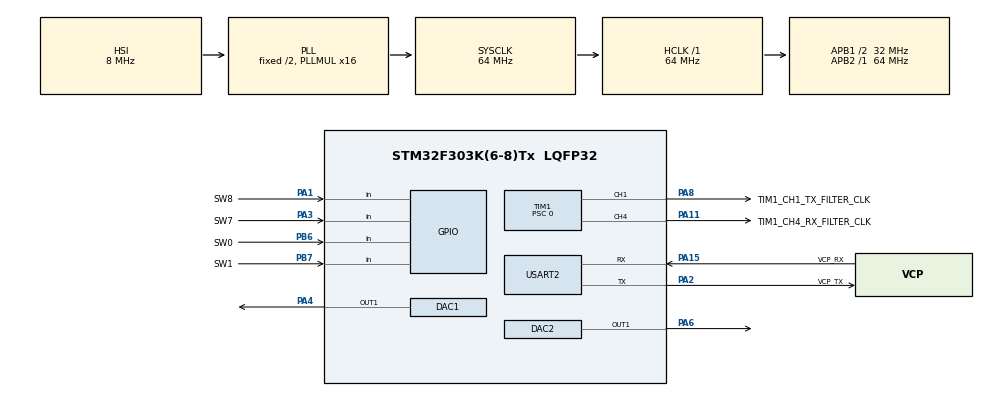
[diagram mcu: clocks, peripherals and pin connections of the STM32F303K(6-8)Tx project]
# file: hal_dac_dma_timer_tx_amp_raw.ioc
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DAC1.DAC_OutputBuffer=DAC_OUTPUTBUFFER_ENABLE
DAC1.DAC_Trigger=DAC_TRIGGER_T6_TRGO
DAC2.DAC_Trigger=DAC_TRIGGER_T7_TRGO
Dma.DAC1_CH1.0.Direction=DMA_MEMORY_TO_PERIPH
Dma.DAC1_CH1.0.Instance=DMA1_Channel3
Dma.DAC1_CH1.0.MemDataAlignment=DMA_MDATAALIGN_HALFWORD
Dma.DAC1_CH1.0.MemInc=DMA_MINC_ENABLE
Dma.DAC1_CH1.0.Mode=DMA_CIRCULAR
Dma.DAC1_CH1.0.PeriphDataAlignment=DMA_PDATAALIGN_HALFWORD
Dma.DAC1_CH1.0.PeriphInc=DMA_PINC_DISABLE
Dma.DAC1_CH1.0.Priority=DMA_PRIORITY_HIGH
Dma.DAC2_CH1.1.Direction=DMA_MEMORY_TO_PERIPH
Dma.DAC2_CH1.1.Instance=DMA1_Channel5
Dma.DAC2_CH1.1.MemDataAlignment=DMA_MDATAALIGN_HALFWORD
Dma.DAC2_CH1.1.MemInc=DMA_MINC_ENABLE
Dma.DAC2_CH1.1.Mode=DMA_CIRCULAR
Dma.DAC2_CH1.1.PeriphDataAlignment=DMA_PDATAALIGN_HALFWORD
Dma.DAC2_CH1.1.PeriphInc=DMA_PINC_DISABLE
Dma.DAC2_CH1.1.Priority=DMA_PRIORITY_HIGH
Dma.Request0=DAC1_CH1
Dma.Request1=DAC2_CH1
Mcu.Family=STM32F3
Mcu.Name=STM32F303K(6-8)Tx
Mcu.Package=LQFP32
NVIC.DMA1_Channel3_IRQn=true\:0\:0\:false\:false\:true\:false\:true\:true
NVIC.DMA1_Channel5_IRQn=true\:0\:0\:false\:false\:true\:false\:true\:true
NVIC.PriorityGroup=NVIC_PRIORITYGROUP_4
PA1.GPIO_Label=SW8
PA1.Signal=GPIO_Input
PA11.GPIO_Label=TIM1_CH4_RX_FILTER_CLK
PA11.GPIO_Speed=GPIO_SPEED_FREQ_MEDIUM
PA11.Signal=S_TIM1_CH4
PA13.GPIO_Label=SWDIO
PA13.Mode=Serial_Wire
PA13.Signal=SYS_JTMS-SWDIO
PA14.GPIO_Label=SWCLK
PA14.Mode=Serial_Wire
PA14.Signal=SYS_JTCK-SWCLK
PA15.GPIO_Label=VCP_RX
PA15.Mode=Asynchronous
PA15.Signal=USART2_RX
PA2.GPIO_Label=VCP_TX
PA2.Mode=Asynchronous
PA2.Signal=USART2_TX
PA3.GPIO_Label=SW7
PA3.Signal=GPIO_Input
PA4.Signal=COMP_DAC11_group
PA6.Signal=COMP_DAC21_group
PA8.GPIO_Label=TIM1_CH1_TX_FILTER_CLK
PA8.GPIO_Speed=GPIO_SPEED_FREQ_MEDIUM
PA8.Signal=S_TIM1_CH1
PB6.GPIO_Label=SW0
PB6.Signal=GPIO_Input
PB7.GPIO_Label=SW1
PB7.Signal=GPIO_Input
PF0\ /\ OSC_IN.GPIO_Label=MCO
PF0\ /\ OSC_IN.Mode=HSE-External-Clock-Source
PF0\ /\ OSC_IN.Signal=RCC_OSC_IN
ProjectManager.HeapSize=0x200
ProjectManager.StackSize=0x400
ProjectManager.TargetToolchain=STM32CubeIDE
RCC.AHBFreq_Value=64000000
RCC.APB1CLKDivider=RCC_HCLK_DIV2
RCC.APB1Freq_Value=32000000
RCC.APB1TimFreq_Value=64000000
RCC.APB2Freq_Value=64000000
RCC.APB2TimFreq_Value=64000000
RCC.CortexFreq_Value=64000000
RCC.HCLKFreq_Value=64000000
RCC.HSE_VALUE=8000000
RCC.HSI_VALUE=8000000
RCC.PLLMUL=RCC_PLL_MUL16
RCC.SYSCLKFreq_VALUE=64000000
RCC.SYSCLKSourceVirtual=RCC_SYSCLKSOURCE_PLLCLK
SH.COMP_DAC11_group.0=DAC1_OUT1,DAC_OUT1
SH.COMP_DAC21_group.0=DAC2_OUT1,Switch_Enable_OUT1
SH.S_TIM1_CH1.0=TIM1_CH1,Output Compare1 CH1
SH.S_TIM1_CH4.0=TIM1_CH4,Output Compare4 CH4
TIM1.Channel-Output\ Compare1\ CH1=TIM_CHANNEL_1
TIM1.Channel-Output\ Compare4\ CH4=TIM_CHANNEL_4
TIM1.OCMode_1=TIM_OCMODE_TOGGLE
TIM1.OCMode_4=TIM_OCMODE_TOGGLE
TIM1.Period=16
TIM1.Prescaler=0
TIM6.Period=10
TIM6.Prescaler=4
TIM6.TIM_MasterOutputTrigger=TIM_TRGO_UPDATE
TIM7.Period=6400
TIM7.TIM_MasterOutputTrigger=TIM_TRGO_UPDATE
USART2.VirtualMode-Asynchronous=VM_ASYNC
VP_TIM1_VS_ClockSourceINT.Mode=Internal
VP_TIM6_VS_ClockSourceINT.Mode=Enable_Timer
VP_TIM7_VS_ClockSourceINT.Mode=Enable_Timer
board=NUCLEO-F303K8

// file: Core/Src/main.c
/* USER CODE BEGIN Header */
/**
  ******************************************************************************
  * @file           : main.c
  * @brief          : Main program body
  ******************************************************************************
  * @attention
  *
  * Copyright (c) 2024 STMicroelectronics.
  * All rights reserved.
  *
  * This software is licensed under terms that can be found in the LICENSE file
  * in the root directory of this software component.
  * If no LICENSE file comes with this software, it is provided AS-IS.
  *
  ******************************************************************************
  */

//DAC2_OUT1 / pin 12 / PA6 (A5): unbuffered => AUDIO, timer 7 triggering
//note: the timer is considered an external trigger, so I think I need to use HAL_DAC_Start_DMA
//DMA config: DAC2_CH1, DMA1 channel 5, memory to peripheral, high priority
//"DMA request mapped on this DMA channel only if the corresponding remapping bit is set in the SYSCFG_CFGR1 or SYSCFGR3 register" (ref manual page 273), I think this is done already with the "__HAL_DMA_REMAP_CHANNEL_ENABLE" command

//DAC1_OUT1 / pin 10 / PA4 (A3): buffered => TX_AMP_RAW, timer 6 triggering

/* USER CODE END Header */
#include "main.h"

DAC_HandleTypeDef hdac1;
DAC_HandleTypeDef hdac2;
DMA_HandleTypeDef hdma_dac1_ch1;
DMA_HandleTypeDef hdma_dac2_ch1;

TIM_HandleTypeDef htim1;
TIM_HandleTypeDef htim6;
TIM_HandleTypeDef htim7;

UART_HandleTypeDef huart2;

void SystemClock_Config(void);
static void MX_GPIO_Init(void);
static void MX_DMA_Init(void);
static void MX_USART2_UART_Init(void);
static void MX_TIM7_Init(void);
static void MX_DAC1_Init(void);
static void MX_TIM6_Init(void);
static void MX_TIM1_Init(void);
static void MX_DAC2_Init(void);

/* USER CODE BEGIN 0 */

#define WAVE_BUFFER_CAPACITY 512

uint16_t waveAmplitude;//DAC counts ranging from [0,4095]
uint16_t waveFrequency;//[Hz]
uint32_t waveSize;//[points]
uint16_t waveBuffer[WAVE_BUFFER_CAPACITY];

const uint32_t dacOutputSampleRate = 64000000/4/10;

/**
 * sampleRate [samples/second]
 * frequency [Hz]
 * amplitude [12-bit DAC counts]
 * center [12-bit DAC counts]
 */
void GenerateWaveToTransmit(double sampleRate, double frequency, double amplitude, double center)
{
    double sampleTime = 1.0 / sampleRate;//[sec/sample]
    uint32_t samplesPerCycle = (uint32_t)round(sampleRate / frequency);

    if (samplesPerCycle >= WAVE_BUFFER_CAPACITY) return;

    for (uint32_t i = 0; i < samplesPerCycle; i++)
    {
        double timeS = (i) * sampleTime;
        double waveValue = amplitude * sin(2 * M_PI * frequency * timeS) + center;
        if (waveValue < 0) waveValue = 0;//TODO: test and see if I can remove this
        if (waveValue > 4095) waveValue = 4095;
        uint16_t waveValueInt = (uint16_t)round(waveValue);
        waveBuffer[i] = waveValueInt;
    }

    waveAmplitude = (uint16_t) amplitude;
    waveFrequency = (uint16_t) frequency;
    waveSize = samplesPerCycle;

}

/* USER CODE END 0 */

int main(void)
{

  /* MCU Configuration--------------------------------------------------------*/

  /* Reset of all peripherals, Initializes the Flash interface and the Systick. */
  HAL_Init();

  /* Configure the system clock */
  SystemClock_Config();

  /* Initialize all configured peripherals */
  MX_GPIO_Init();
  MX_DMA_Init();
  MX_USART2_UART_Init();
  MX_TIM7_Init();
  MX_DAC1_Init();
  MX_TIM6_Init();
  MX_TIM1_Init();
  MX_DAC2_Init();
  /* USER CODE BEGIN 2 */

  //HAL_DMA_Start_IT(&hdma_dac2_ch1, )
  //Enable the DAC channel using HAL_DAC_Start() or HAL_DAC_Start_DMA() functions
  //dac output voltage equation: DAC_OUTx = VREF+ * DOR / 4095

  __HAL_TIM_SET_COMPARE(&htim1, TIM_CHANNEL_1, 1);//same as htim1.Instance->CCR1 = 16;
  __HAL_TIM_SET_COMPARE(&htim1, TIM_CHANNEL_4, 1);//same as htim1.Instance->CCR4 = 16;

  HAL_TIM_OC_Start(&htim1, TIM_CHANNEL_1);
  HAL_TIM_OC_Start(&htim1, TIM_CHANNEL_4);

  	GenerateWaveToTransmit(
  			dacOutputSampleRate, //sample rate
			16000, //frequency
			200, //amplitude
			2048 //center
			);

	HAL_DAC_Stop_DMA(&hdac2, DAC_CHANNEL_1);
	HAL_DAC_Stop_DMA(&hdac1, DAC_CHANNEL_1);
	//memcpy(waveBuffer, tempBuffer, sizeof(uint16_t) * tempSize);
	//HAL_DAC_Start_DMA(&hdac2, DAC_CHANNEL_1, (uint32_t *)waveBuffer, waveSize, DAC_ALIGN_12B_R);
	HAL_DAC_Start_DMA(&hdac1, DAC_CHANNEL_1, (uint32_t *)waveBuffer, waveSize, DAC_ALIGN_12B_R);

	//timer output rate = 8 MHz / prescaler / timerperiod
	//__HAL_RCC_TIM7_CLK_ENABLE();
	//HAL_TIM_Base_Start(&htim7);   //HAL_TIM_Base_Start_DMA();  ???

	__HAL_RCC_TIM6_CLK_ENABLE();
	HAL_TIM_Base_Start(&htim6);   //HAL_TIM_Base_Start_DMA();  ???

  /* USER CODE END 2 */

  /* Infinite loop */
  /* USER CODE BEGIN WHILE */
  while (1)
  {
	  /*GPIO_PinState pinState0 = HAL_GPIO_ReadPin(SW0_GPIO_Port, SW0_Pin);
	  GPIO_PinState pinState1 = HAL_GPIO_ReadPin(SW1_GPIO_Port, SW1_Pin);
	  GPIO_PinState pinState8 = HAL_GPIO_ReadPin(SW8_GPIO_Port, SW8_Pin);
	  GPIO_PinState pinState7 = HAL_GPIO_ReadPin(SW7_GPIO_Port, SW7_Pin);

	  if (pinState0 == GPIO_PIN_RESET)
	  {
		  uint16_t newAmp = waveAmplitude + 50;
		  if (newAmp > 3000) newAmp = 3000;
		  GenerateWaveToTransmitInTempBuffer(waveFrequency, newAmp, 4096/2);
		  UpdateDACWaveAfterChange();

		  HAL_Delay(200);
	  }
	  if (pinState1 == GPIO_PIN_RESET)
	  {
		  int16_t newAmp = ((int16_t)waveAmplitude) - 50;
		  if (newAmp < 0) newAmp = 0;
		  GenerateWaveToTransmitInTempBuffer(waveFrequency, (uint16_t)newAmp, 4096/2);
		  UpdateDACWaveAfterChange();

		  HAL_Delay(200);
	  }
	  if (pinState8 == GPIO_PIN_RESET)
	  {
		  uint16_t newFreq = waveFrequency + 20;
		  if (newFreq > 3000) newFreq = 3000;
		  GenerateWaveToTransmitInTempBuffer(newFreq, waveAmplitude, 4096/2);
		  UpdateDACWaveAfterChange();

		  HAL_Delay(200);
	  }
	  if (pinState7 == GPIO_PIN_RESET)
	  {
		  int16_t newFreq = ((int16_t)waveFrequency) - 20;
		  if (newFreq < 20) newFreq = 20;
		  GenerateWaveToTransmitInTempBuffer((uint16_t)newFreq, waveAmplitude, 4096/2);
		  UpdateDACWaveAfterChange();

		  HAL_Delay(200);
	  }*/

    /* USER CODE END WHILE */

  }
}

void SystemClock_Config(void)
{
  RCC_OscInitTypeDef RCC_OscInitStruct = {0};
  RCC_ClkInitTypeDef RCC_ClkInitStruct = {0};
  RCC_PeriphCLKInitTypeDef PeriphClkInit = {0};

  /** Initializes the RCC Oscillators according to the specified parameters
  * in the RCC_OscInitTypeDef structure.
  */
  RCC_OscInitStruct.OscillatorType = RCC_OSCILLATORTYPE_HSI;
  RCC_OscInitStruct.HSIState = RCC_HSI_ON;
  RCC_OscInitStruct.HSICalibrationValue = RCC_HSICALIBRATION_DEFAULT;
  RCC_OscInitStruct.PLL.PLLState = RCC_PLL_ON;
  RCC_OscInitStruct.PLL.PLLSource = RCC_PLLSOURCE_HSI;
  RCC_OscInitStruct.PLL.PLLMUL = RCC_PLL_MUL16;
  if (HAL_RCC_OscConfig(&RCC_OscInitStruct) != HAL_OK)
  {
    Error_Handler();
  }

  /** Initializes the CPU, AHB and APB buses clocks
  */
  RCC_ClkInitStruct.ClockType = RCC_CLOCKTYPE_HCLK|RCC_CLOCKTYPE_SYSCLK
                              |RCC_CLOCKTYPE_PCLK1|RCC_CLOCKTYPE_PCLK2;
  RCC_ClkInitStruct.SYSCLKSource = RCC_SYSCLKSOURCE_PLLCLK;
  RCC_ClkInitStruct.AHBCLKDivider = RCC_SYSCLK_DIV1;
  RCC_ClkInitStruct.APB1CLKDivider = RCC_HCLK_DIV2;
  RCC_ClkInitStruct.APB2CLKDivider = RCC_HCLK_DIV1;

  if (HAL_RCC_ClockConfig(&RCC_ClkInitStruct, FLASH_LATENCY_2) != HAL_OK)
  {
    Error_Handler();
  }
  PeriphClkInit.PeriphClockSelection = RCC_PERIPHCLK_TIM1;
  PeriphClkInit.Tim1ClockSelection = RCC_TIM1CLK_HCLK;
  if (HAL_RCCEx_PeriphCLKConfig(&PeriphClkInit) != HAL_OK)
  {
    Error_Handler();
  }
}

static void MX_DAC1_Init(void)
{

  DAC_ChannelConfTypeDef sConfig = {0};

  /** DAC Initialization
  */
  hdac1.Instance = DAC1;
  if (HAL_DAC_Init(&hdac1) != HAL_OK)
  {
    Error_Handler();
  }

  /** DAC channel OUT1 config
  */
  sConfig.DAC_Trigger = DAC_TRIGGER_T6_TRGO;
  sConfig.DAC_OutputBuffer = DAC_OUTPUTBUFFER_ENABLE;
  if (HAL_DAC_ConfigChannel(&hdac1, &sConfig, DAC_CHANNEL_1) != HAL_OK)
  {
    Error_Handler();
  }

}

static void MX_DAC2_Init(void)
{

  DAC_ChannelConfTypeDef sConfig = {0};

  /** DAC Initialization
  */
  hdac2.Instance = DAC2;
  if (HAL_DAC_Init(&hdac2) != HAL_OK)
  {
    Error_Handler();
  }

  /** DAC channel OUT1 config
  */
  sConfig.DAC_Trigger = DAC_TRIGGER_T7_TRGO;
  sConfig.DAC_OutputSwitch = DAC_OUTPUTSWITCH_ENABLE;
  if (HAL_DAC_ConfigChannel(&hdac2, &sConfig, DAC_CHANNEL_1) != HAL_OK)
  {
    Error_Handler();
  }

}

static void MX_TIM1_Init(void)
{

  TIM_ClockConfigTypeDef sClockSourceConfig = {0};
  TIM_MasterConfigTypeDef sMasterConfig = {0};
  TIM_OC_InitTypeDef sConfigOC = {0};
  TIM_BreakDeadTimeConfigTypeDef sBreakDeadTimeConfig = {0};

  htim1.Instance = TIM1;
  htim1.Init.Prescaler = 0;
  htim1.Init.CounterMode = TIM_COUNTERMODE_UP;
  htim1.Init.Period = 16;
  htim1.Init.ClockDivision = TIM_CLOCKDIVISION_DIV1;
  htim1.Init.RepetitionCounter = 0;
  htim1.Init.AutoReloadPreload = TIM_AUTORELOAD_PRELOAD_DISABLE;
  if (HAL_TIM_Base_Init(&htim1) != HAL_OK)
  {
    Error_Handler();
  }
  sClockSourceConfig.ClockSource = TIM_CLOCKSOURCE_INTERNAL;
  if (HAL_TIM_ConfigClockSource(&htim1, &sClockSourceConfig) != HAL_OK)
  {
    Error_Handler();
  }
  if (HAL_TIM_OC_Init(&htim1) != HAL_OK)
  {
    Error_Handler();
  }
  sMasterConfig.MasterOutputTrigger = TIM_TRGO_RESET;
  sMasterConfig.MasterOutputTrigger2 = TIM_TRGO2_RESET;
  sMasterConfig.MasterSlaveMode = TIM_MASTERSLAVEMODE_DISABLE;
  if (HAL_TIMEx_MasterConfigSynchronization(&htim1, &sMasterConfig) != HAL_OK)
  {
    Error_Handler();
  }
  sConfigOC.OCMode = TIM_OCMODE_TOGGLE;
  sConfigOC.Pulse = 0;
  sConfigOC.OCPolarity = TIM_OCPOLARITY_HIGH;
  sConfigOC.OCNPolarity = TIM_OCNPOLARITY_HIGH;
  sConfigOC.OCFastMode = TIM_OCFAST_DISABLE;
  sConfigOC.OCIdleState = TIM_OCIDLESTATE_RESET;
  sConfigOC.OCNIdleState = TIM_OCNIDLESTATE_RESET;
  if (HAL_TIM_OC_ConfigChannel(&htim1, &sConfigOC, TIM_CHANNEL_1) != HAL_OK)
  {
    Error_Handler();
  }
  if (HAL_TIM_OC_ConfigChannel(&htim1, &sConfigOC, TIM_CHANNEL_4) != HAL_OK)
  {
    Error_Handler();
  }
  sBreakDeadTimeConfig.OffStateRunMode = TIM_OSSR_DISABLE;
  sBreakDeadTimeConfig.OffStateIDLEMode = TIM_OSSI_DISABLE;
  sBreakDeadTimeConfig.LockLevel = TIM_LOCKLEVEL_OFF;
  sBreakDeadTimeConfig.DeadTime = 0;
  sBreakDeadTimeConfig.BreakState = TIM_BREAK_DISABLE;
  sBreakDeadTimeConfig.BreakPolarity = TIM_BREAKPOLARITY_HIGH;
  sBreakDeadTimeConfig.BreakFilter = 0;
  sBreakDeadTimeConfig.Break2State = TIM_BREAK2_DISABLE;
  sBreakDeadTimeConfig.Break2Polarity = TIM_BREAK2POLARITY_HIGH;
  sBreakDeadTimeConfig.Break2Filter = 0;
  sBreakDeadTimeConfig.AutomaticOutput = TIM_AUTOMATICOUTPUT_DISABLE;
  if (HAL_TIMEx_ConfigBreakDeadTime(&htim1, &sBreakDeadTimeConfig) != HAL_OK)
  {
    Error_Handler();
  }
  HAL_TIM_MspPostInit(&htim1);

}

static void MX_TIM6_Init(void)
{

  TIM_MasterConfigTypeDef sMasterConfig = {0};

  htim6.Instance = TIM6;
  htim6.Init.Prescaler = 4;
  htim6.Init.CounterMode = TIM_COUNTERMODE_UP;
  htim6.Init.Period = 10;
  htim6.Init.AutoReloadPreload = TIM_AUTORELOAD_PRELOAD_DISABLE;
  if (HAL_TIM_Base_Init(&htim6) != HAL_OK)
  {
    Error_Handler();
  }
  sMasterConfig.MasterOutputTrigger = TIM_TRGO_UPDATE;
  sMasterConfig.MasterSlaveMode = TIM_MASTERSLAVEMODE_DISABLE;
  if (HAL_TIMEx_MasterConfigSynchronization(&htim6, &sMasterConfig) != HAL_OK)
  {
    Error_Handler();
  }

}

static void MX_TIM7_Init(void)
{

  TIM_MasterConfigTypeDef sMasterConfig = {0};

  htim7.Instance = TIM7;
  htim7.Init.Prescaler = 0;
  htim7.Init.CounterMode = TIM_COUNTERMODE_UP;
  htim7.Init.Period = 6400;
  htim7.Init.AutoReloadPreload = TIM_AUTORELOAD_PRELOAD_DISABLE;
  if (HAL_TIM_Base_Init(&htim7) != HAL_OK)
  {
    Error_Handler();
  }
  sMasterConfig.MasterOutputTrigger = TIM_TRGO_UPDATE;
  sMasterConfig.MasterSlaveMode = TIM_MASTERSLAVEMODE_DISABLE;
  if (HAL_TIMEx_MasterConfigSynchronization(&htim7, &sMasterConfig) != HAL_OK)
  {
    Error_Handler();
  }

}

static void MX_USART2_UART_Init(void)
{

  huart2.Instance = USART2;
  huart2.Init.BaudRate = 38400;
  huart2.Init.WordLength = UART_WORDLENGTH_8B;
  huart2.Init.StopBits = UART_STOPBITS_1;
  huart2.Init.Parity = UART_PARITY_NONE;
  huart2.Init.Mode = UART_MODE_TX_RX;
  huart2.Init.HwFlowCtl = UART_HWCONTROL_NONE;
  huart2.Init.OverSampling = UART_OVERSAMPLING_16;
  huart2.Init.OneBitSampling = UART_ONE_BIT_SAMPLE_DISABLE;
  huart2.AdvancedInit.AdvFeatureInit = UART_ADVFEATURE_NO_INIT;
  if (HAL_UART_Init(&huart2) != HAL_OK)
  {
    Error_Handler();
  }

}

static void MX_DMA_Init(void)
{

  /* DMA controller clock enable */
  __HAL_RCC_DMA1_CLK_ENABLE();

  /* DMA interrupt init */
  /* DMA1_Channel3_IRQn interrupt configuration */
  HAL_NVIC_SetPriority(DMA1_Channel3_IRQn, 0, 0);
  HAL_NVIC_EnableIRQ(DMA1_Channel3_IRQn);
  /* DMA1_Channel5_IRQn interrupt configuration */
  HAL_NVIC_SetPriority(DMA1_Channel5_IRQn, 0, 0);
  HAL_NVIC_EnableIRQ(DMA1_Channel5_IRQn);

}

static void MX_GPIO_Init(void)
{
  GPIO_InitTypeDef GPIO_InitStruct = {0};

  /* GPIO Ports Clock Enable */
  __HAL_RCC_GPIOF_CLK_ENABLE();
  __HAL_RCC_GPIOA_CLK_ENABLE();
  __HAL_RCC_GPIOB_CLK_ENABLE();

  /*Configure GPIO pins : SW8_Pin SW7_Pin */
  GPIO_InitStruct.Pin = SW8_Pin|SW7_Pin;
  GPIO_InitStruct.Mode = GPIO_MODE_INPUT;
  GPIO_InitStruct.Pull = GPIO_NOPULL;
  HAL_GPIO_Init(GPIOA, &GPIO_InitStruct);

  /*Configure GPIO pins : SW0_Pin SW1_Pin */
  GPIO_InitStruct.Pin = SW0_Pin|SW1_Pin;
  GPIO_InitStruct.Mode = GPIO_MODE_INPUT;
  GPIO_InitStruct.Pull = GPIO_NOPULL;
  HAL_GPIO_Init(GPIOB, &GPIO_InitStruct);

}

void Error_Handler(void)
{
  __disable_irq();
  while (1)
  {
  }
}
